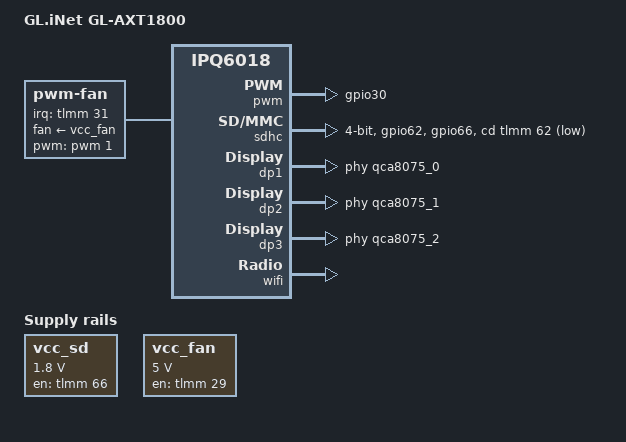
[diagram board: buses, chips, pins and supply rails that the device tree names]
// SPDX-License-Identifier: GPL-2.0-or-later OR MIT

/dts-v1/;

#include "ipq6000-glinet.dtsi"

/ {
	model = "GL.iNet GL-AXT1800";
	compatible = "glinet,gl-axt1800", "qcom,ipq6018";

	aliases {
		label-mac-device = &dp1;
	};

	vcc_sd: regulator-vcc-sd {
		compatible = "regulator-fixed";
		regulator-name = "vcc_sd";
		regulator-min-microvolt = <1800000>;
		regulator-max-microvolt = <1800000>;
		gpios = <&tlmm 66 GPIO_ACTIVE_HIGH>;
		enable-active-high;
		regulator-always-on;
	};

	vcc_fan: regulator-vcc-fan {
		compatible = "regulator-fixed";
		regulator-name = "vcc_fan";
		regulator-min-microvolt = <5000000>;
		regulator-max-microvolt = <5000000>;
		gpios = <&tlmm 29 GPIO_ACTIVE_HIGH>;
		enable-active-high;
		regulator-boot-on;
	};

	fan: pwm-fan {
		compatible = "pwm-fan";
		pwms = <&pwm 1 40000 0>;
		fan-supply = <&vcc_fan>;
		interrupt-parent = <&tlmm>;
		interrupts = <31 IRQ_TYPE_EDGE_RISING>;
		cooling-levels = <0 36 36 36 36 36 36 36 36 36 36 36 36 36 36 36 36 36 36 36
				36 36 36 36 36 36 36 36 36 36 36 36 36 36 36 36 36 37 38 39
				40 41 42 43 44 45 46 47 48 49 50 51 52 53 54 55 56 57 58 59
				60 61 62 63 64 65 66 67 68 69 70 71 72 73 74 75 76 77 78 79
				80 81 82 83 84 85 86 87 88 89 90 91 92 93 94 95 96 97 98 99
				100 101 102 103 104 105 106 107 108 109 110 111 112 113 114 115 116 117 118 119
				120 121 122 123 124 125 126 127 128 129 130 131 132 133 134 135 136 137 138 139
				140 141 142 143 144 145 146 147 148 149 150 151 152 153 154 155 156 157 158 159
				160 161 162 163 164 165 166 167 168 169 170 171 172 173 174 175 176 177 178 179
				180 181 182 183 184 185 186 187 188 189 190 191 192 193 194 195 196 197 198 199
				200 201 202 203 204 205 206 207 208 209 210 211 212 213 214 215 216 217 218 219
				220 221 222 223 224 225 226 227 228 229 230 231 232 233 234 235 236 237 238 239
				240 241 242 243 244 245 246 247 248 249 250 251 252 253 254 255>;
		#cooling-cells = <2>;
	};

	thermal-zones {
		cpu-thermal {
			trips {
				cpu_trip_high: active-high {
					temperature = <100000>;
					hysteresis = <2000>;
					type = "active";
				};

				cpu_trip_med: active-med {
					temperature = <75000>;
					hysteresis = <2000>;
					type = "active";
				};

				cpu_trip_low: active-low {
					temperature = <50000>;
					hysteresis = <2000>;
					type = "active";
				};
			};

			cooling-maps {
				cpu-active-high {
					cooling-device = <&fan 3 3>;
					trip = <&cpu_trip_high>;
				};

				cpu-active-med {
					cooling-device = <&fan 2 2>;
					trip = <&cpu_trip_med>;
				};

				cpu-active-low {
					cooling-device = <&fan 1 1>;
					trip = <&cpu_trip_low>;
				};
			};
		};
	};
};

&tlmm {
	pwm_pins: pwm-pins {
		pwm {
			pins = "gpio30";
			function = "pwm13";
			drive-strength = <8>;
		};
	};

	sd_pins: sd-pins {
		sd {
			pins = "gpio62";
			function = "sd_card";
			bias-pull-up;
		};
		ldo {
			pins = "gpio66";
			function = "gpio";
			bias-pull-up;
		};
	};
};

&partitions {
	partition@a00000 {
		label = "rootfs";
		reg = <0x0a00000 0x7280000>;
	};

	partition@7c80000 {
		label = "log";
		reg = <0x7c80000 0x0080000>;
	};
};

&pwm {
	pinctrl-0 = <&pwm_pins>;
	pinctrl-names = "default";
	status = "okay";
};

&sdhc {
	mmc-ddr-1_8v;
	bus-width = <4>;
	cd-gpios = <&tlmm 62 GPIO_ACTIVE_LOW>;
	pinctrl-0 = <&sd_pins>;
	pinctrl-names = "default";
	vqmmc-supply = <&vcc_sd>;
	status = "okay";
};

&switch {
	switch_lan_bmp = <(ESS_PORT2 | ESS_PORT3)>;
	switch_wan_bmp = <ESS_PORT1>;
};

&dp1 {
	status = "okay";
	phy-handle = <&qca8075_0>;
	label = "wan";
	nvmem-cells = <&macaddr_wan>;
	nvmem-cell-names = "mac-address";
};

&dp2 {
	status = "okay";
	phy-handle = <&qca8075_1>;
	label = "lan2";
	nvmem-cells = <&macaddr_lan>;
	nvmem-cell-names = "mac-address";
};

&dp3 {
	status = "okay";
	phy-handle = <&qca8075_2>;
	label = "lan1";
	nvmem-cells = <&macaddr_lan>;
	nvmem-cell-names = "mac-address";
};

&wifi {
	status = "okay";
	qcom,ath11k-fw-memory-mode = <1>;
	qcom,ath11k-calibration-variant = "GL-iNet-GL-AXT1800";
};
